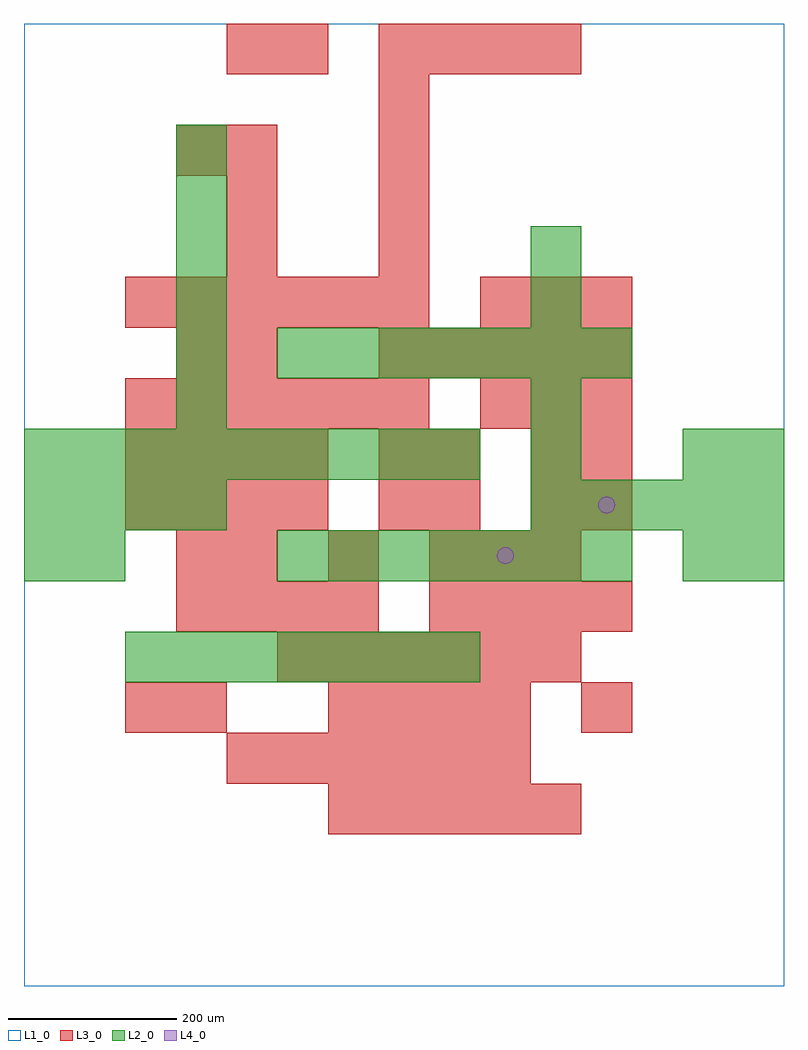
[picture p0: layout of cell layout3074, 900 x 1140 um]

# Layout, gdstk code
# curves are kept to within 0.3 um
import gdstk
lib = gdstk.Library(unit=1e-6, precision=1e-09)
def R(c, l, rs):  # rectangles x0, y0, x1, y1
    for r in rs: c.add(gdstk.rectangle(r[:2], r[2:], *l))
def A(c, l, x, y, w, h, nx, ny, dx, dy):  # array of equal rectangles
    R(c, l, [(x+i*dx, y+j*dy, x+i*dx+w, y+j*dy+h) for i in range(nx) for j in range(ny)])
def P(c, l, *ps):  # polygons
    for p in ps: c.add(gdstk.Polygon(p, *l))
L1_0 = (1, 0)
L2_0 = (2, 0)
L3_0 = (3, 0)
L4_0 = (4, 0)

layout3074 = lib.new_cell('layout3074')
R(layout3074, L1_0, [(0,0,900,1140)])
A(layout3074, L2_0, 120, 360, 60, 60, 7, 1, 60, 0)
A(layout3074, L2_0, 300, 480, 60, 60, 7, 2, 60, 240)
A(layout3074, L2_0, 0, 540, 60, 60, 4, 1, 60, 0)
A(layout3074, L2_0, 600, 540, 60, 60, 5, 1, 60, 0)
A(layout3074, L2_0, 0, 600, 60, 60, 9, 1, 60, 0)
A(layout3074, L2_0, 180, 660, 60, 60, 1, 6, 0, 60)
R(layout3074, L2_0, [(0,480,60,540), (60,480,120,540), (780,480,840,540), (840,480,900,540), (600,600,660,660), (780,600,840,660), (840,600,900,660), (600,660,660,720), (600,780,660,840), (600,840,660,900)])
A(layout3074, L3_0, 360, 180, 60, 60, 5, 1, 60, 0)
A(layout3074, L3_0, 240, 240, 60, 60, 6, 1, 60, 0)
A(layout3074, L3_0, 360, 300, 60, 60, 4, 1, 60, 0)
A(layout3074, L3_0, 300, 360, 60, 60, 6, 1, 60, 0)
A(layout3074, L3_0, 180, 420, 60, 60, 4, 1, 60, 0)
A(layout3074, L3_0, 480, 420, 60, 60, 4, 1, 60, 0)
A(layout3074, L3_0, 180, 480, 60, 60, 1, 3, 0, 240)
A(layout3074, L3_0, 240, 480, 60, 60, 3, 1, 120, 0)
A(layout3074, L3_0, 600, 480, 60, 60, 1, 3, 0, 60)
A(layout3074, L3_0, 120, 540, 60, 60, 4, 2, 60, 60)
A(layout3074, L3_0, 120, 660, 60, 60, 6, 2, 60, 120)
A(layout3074, L3_0, 540, 660, 60, 60, 3, 2, 60, 120)
A(layout3074, L3_0, 420, 720, 60, 60, 5, 1, 60, 0)
A(layout3074, L3_0, 240, 840, 60, 60, 1, 3, 0, 60)
A(layout3074, L3_0, 420, 840, 60, 60, 1, 4, 0, 60)
A(layout3074, L3_0, 420, 1080, 60, 60, 4, 1, 60, 0)
R(layout3074, L3_0, [(120,300,180,360), (180,300,240,360), (660,300,720,360), (540,480,600,540), (420,540,480,600), (480,540,540,600), (660,540,720,600), (420,600,480,660), (480,600,540,660), (660,600,720,660), (240,720,300,780), (240,1080,300,1140), (300,1080,360,1140)])
P(layout3074, L4_0, [(580,510),(579.239,513.827),(577.071,517.071),(573.827,519.239),(570,520),(566.173,519.239),(562.929,517.071),(560.761,513.827),(560,510),(560.761,506.173),(562.929,502.929),(566.173,500.761),(570,500),(573.827,500.761),(577.071,502.929),(579.239,506.173)],
  [(700,570),(699.239,573.827),(697.071,577.071),(693.827,579.239),(690,580),(686.173,579.239),(682.929,577.071),(680.761,573.827),(680,570),(680.761,566.173),(682.929,562.929),(686.173,560.761),(690,560),(693.827,560.761),(697.071,562.929),(699.239,566.173)])

lib.write_gds('layout3074.gds')
